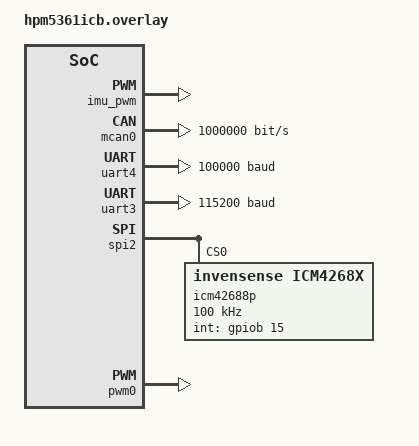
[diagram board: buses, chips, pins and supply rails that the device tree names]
#include <dt-bindings/gpio/gpio.h>
#include <dt-bindings/clock/hpm5361-clocks.h>
#include "dt-bindings/pinctrl/hpmicro-pinctrl-common.h"
#include <zephyr/dt-bindings/pwm/pwm.h>

/ {
	aliases {
		user-can1 =  &mcan0;
		uart-remote = &uart4;
		spi-imu = &icm42688p;
		imu-pwm = &imu_pwm;
	};

	chosen {
		zephyr,console = &uart3;
	};

	pwmheaters {
		compatible = "pwm-leds";

		imu_pwm: imu_pwm {
			pwms = <&pwm0 7 PWM_USEC(1000) PWM_POLARITY_NORMAL>;
			label = "ICM42688P Heater";
			status = "okay";
		};
	};
};

&hdma {
	status = "okay";
};

&gpioa {
	pinctrl-0 = <&pinmux_gpioa>;
	pinctrl-names = "default";
	status = "okay";
};

&gpiob {
	pinctrl-0 = <&pinmux_gpiob_spi>;
	pinctrl-names = "default";
	status = "okay";
};

&mcan0 {
	pinctrl-0 = <&pinmux_mcan0_txrx>;
	pinctrl-names = "default";
	bitrate = <1000000>;
	status = "okay";
};

&uart4 {
	current-speed = <100000>;
	pinctrl-0 = <&pinmux_uart4_rx>;
	pinctrl-names = "default";
	uart-idle-gptmr-reg = <0xF000C000>;
	uart-idle-gptmr-clock-name = <CLOCK_GPTMR3>;
	dmas = <&hdma 2 0x1C>, <&hdma 3 0x1D>;
	dma-names = "rx", "tx";
	status = "okay";
};

&uart3 {
	current-speed = <115200>;
	pinctrl-0 = <&pinmux_uart3>;
	pinctrl-names = "default";
	dmas = <&hdma 4 0x1A>, <&hdma 5 0x1B>;
	dma-names = "rx", "tx";
	status = "okay";
};

&spi2 {
	pinctrl-0 = <&pinmux_spi2_local>;
	pinctrl-names = "default";
	clocks = <&clk CLOCK_SPI2 CLK_SRC_OSC24M 1>;
	status = "okay";

	icm42688p: icm42688p@0 {
		compatible = "invensense,icm4268x";
		reg = <0>;
		spi-max-frequency = <100000>;
		int-gpios = <&gpiob 15 GPIO_ACTIVE_HIGH>;
		status = "okay";
	};
};

&pwm0 {
	pinctrl-0 = <&pinmux_pwm0_p7>;
	pinctrl-names = "default";
	period-init = <1000>;
	dead-zone-in-half-cycle = <0>;
	status = "okay";
};

&mtimer {
	compatible = "riscv,machine-timer", "andestech,machine-timer";
	reg-names = "mtime", "mtimecmp";
};
